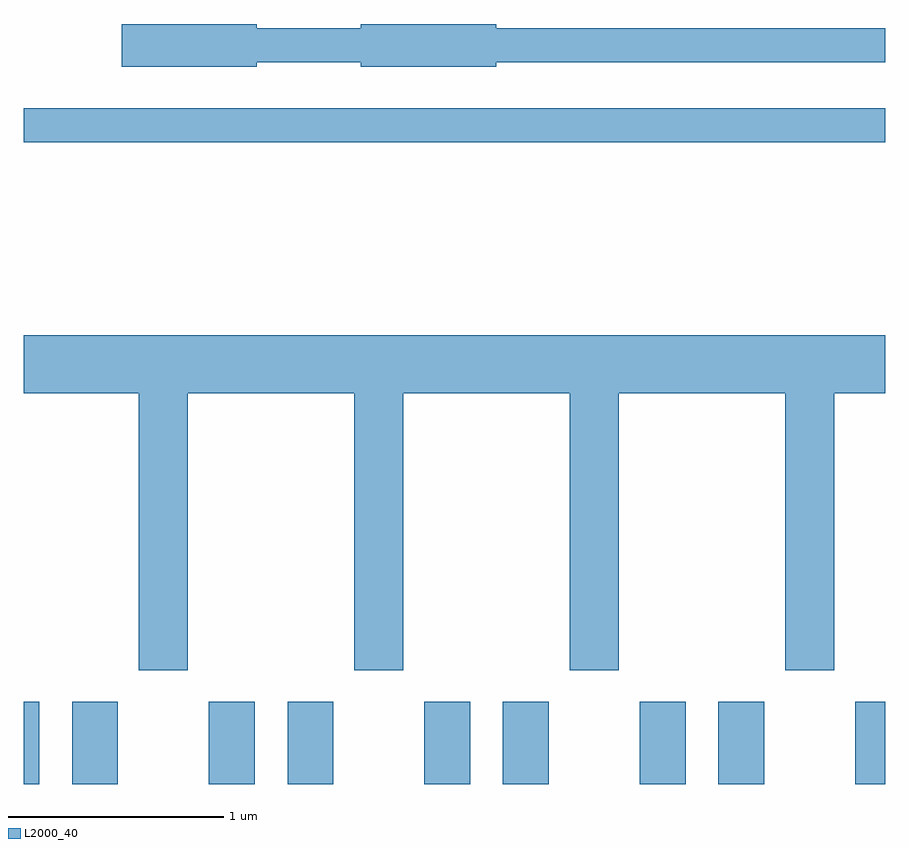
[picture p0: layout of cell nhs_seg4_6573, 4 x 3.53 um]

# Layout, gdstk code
import gdstk
lib = gdstk.Library(unit=1e-6, precision=1e-09)
def R(c, l, rs):  # rectangles x0, y0, x1, y1
    for r in rs: c.add(gdstk.rectangle(r[:2], r[2:], *l))
def P(c, l, *ps):  # polygons
    for p in ps: c.add(gdstk.Polygon(p, *l))
L2000_40 = (2000, 40)

nhs_seg4_6573 = lib.new_cell('nhs_seg4_6573')
R(nhs_seg4_6573, L2000_40, [(377.611,1343.982,377.684,1344.364), (377.836,1343.982,378.049,1344.364), (378.471,1343.982,378.684,1344.364), (378.836,1343.982,379.049,1344.364), (379.471,1343.982,379.684,1344.364), (379.836,1343.982,380.049,1344.364), (380.471,1343.982,380.684,1344.364), (380.836,1343.982,381.049,1344.364), (381.471,1343.982,381.611,1344.364), (377.611,1346.961,381.611,1347.119)])
P(nhs_seg4_6573, L2000_40, [(378.694,1347.331),(379.176,1347.331),(379.176,1347.311),(379.804,1347.311),(379.804,1347.331),(381.611,1347.331),(381.611,1347.489),(379.804,1347.489),(379.804,1347.509),(379.176,1347.509),(379.176,1347.489),(378.694,1347.489),(378.694,1347.509),(378.066,1347.509),(378.066,1347.311),(378.694,1347.311)],
  [(378.374,1345.796),(379.146,1345.796),(379.146,1344.511),(379.374,1344.511),(379.374,1345.796),(380.146,1345.796),(380.146,1344.511),(380.374,1344.511),(380.374,1345.796),(381.146,1345.796),(381.146,1344.511),(381.374,1344.511),(381.374,1345.796),(381.611,1345.796),(381.611,1346.064),(377.611,1346.064),(377.611,1345.796),(378.146,1345.796),(378.146,1344.511),(378.374,1344.511)])

lib.write_gds('nhs_seg4_6573.gds')
